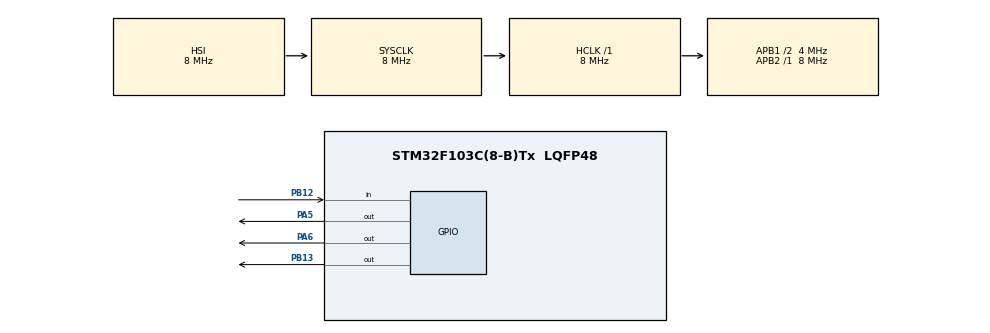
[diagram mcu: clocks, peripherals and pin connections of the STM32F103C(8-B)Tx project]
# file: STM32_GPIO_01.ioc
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Mcu.Family=STM32F1
Mcu.Name=STM32F103C(8-B)Tx
Mcu.Package=LQFP48
NVIC.PriorityGroup=NVIC_PRIORITYGROUP_4
PA13.Mode=Serial_Wire
PA13.Signal=SYS_JTMS-SWDIO
PA14.Mode=Serial_Wire
PA14.Signal=SYS_JTCK-SWCLK
PA5.PinState=GPIO_PIN_SET
PA5.Signal=GPIO_Output
PA6.PinState=GPIO_PIN_SET
PA6.Signal=GPIO_Output
PB12.GPIO_PuPd=GPIO_PULLUP
PB12.Signal=GPIO_Input
PB13.PinState=GPIO_PIN_SET
PB13.Signal=GPIO_Output
PC14-OSC32_IN.Mode=LSE-External-Oscillator
PC14-OSC32_IN.Signal=RCC_OSC32_IN
PC15-OSC32_OUT.Mode=LSE-External-Oscillator
PC15-OSC32_OUT.Signal=RCC_OSC32_OUT
PD0-OSC_IN.Mode=HSE-External-Oscillator
PD0-OSC_IN.Signal=RCC_OSC_IN
PD1-OSC_OUT.Mode=HSE-External-Oscillator
PD1-OSC_OUT.Signal=RCC_OSC_OUT
ProjectManager.HeapSize=0x200
ProjectManager.StackSize=0x400
ProjectManager.TargetToolchain=MDK-ARM V5.32
RCC.AHBFreq_Value=8000000
RCC.APB1CLKDivider=RCC_HCLK_DIV2
RCC.APB1Freq_Value=4000000
RCC.APB1TimFreq_Value=8000000
RCC.APB2Freq_Value=8000000
RCC.APB2TimFreq_Value=8000000
RCC.HCLKFreq_Value=8000000
RCC.PLLMUL=RCC_PLL_MUL9
RCC.PLLSourceVirtual=RCC_PLLSOURCE_HSE
RCC.SYSCLKFreq_VALUE=8000000
RCC.USBFreq_Value=72000000
board=custom

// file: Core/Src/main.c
/* USER CODE BEGIN Header */
/**
  ******************************************************************************
  * @file           : main.c
  * @brief          : Main program body
  ******************************************************************************
  * @attention
  *
  * Copyright (c) 2022 STMicroelectronics.
  * All rights reserved.
  *
  * This software is licensed under terms that can be found in the LICENSE file
  * in the root directory of this software component.
  * If no LICENSE file comes with this software, it is provided AS-IS.
  *
  ******************************************************************************
  */
/* USER CODE END Header */
#include "main.h"
#include "gpio.h"

/* USER CODE BEGIN Includes */
#define KEY1 HAL_GPIO_ReadPin(GPIOB,GPIO_PIN_12)
/* USER CODE END Includes */

void SystemClock_Config(void);
/* USER CODE BEGIN PFP */
void LEDs(void);
void Scan_Keys(void);
/* USER CODE END PFP */

int main(void)
{

  /* MCU Configuration--------------------------------------------------------*/

  /* Reset of all peripherals, Initializes the Flash interface and the Systick. */
  HAL_Init();

  /* Configure the system clock */
  SystemClock_Config();

  /* Initialize all configured peripherals */
  MX_GPIO_Init();

  /* Infinite loop */
  /* USER CODE BEGIN WHILE */
  while (1)
  {
		//LEDs();
		Scan_Keys();
    /* USER CODE END WHILE */

  }
}

void SystemClock_Config(void)
{
  RCC_OscInitTypeDef RCC_OscInitStruct = {0};
  RCC_ClkInitTypeDef RCC_ClkInitStruct = {0};

  /** Initializes the RCC Oscillators according to the specified parameters
  * in the RCC_OscInitTypeDef structure.
  */
  RCC_OscInitStruct.OscillatorType = RCC_OSCILLATORTYPE_HSI;
  RCC_OscInitStruct.HSIState = RCC_HSI_ON;
  RCC_OscInitStruct.HSICalibrationValue = RCC_HSICALIBRATION_DEFAULT;
  RCC_OscInitStruct.PLL.PLLState = RCC_PLL_NONE;
  if (HAL_RCC_OscConfig(&RCC_OscInitStruct) != HAL_OK)
  {
    Error_Handler();
  }

  /** Initializes the CPU, AHB and APB buses clocks
  */
  RCC_ClkInitStruct.ClockType = RCC_CLOCKTYPE_HCLK|RCC_CLOCKTYPE_SYSCLK
                              |RCC_CLOCKTYPE_PCLK1|RCC_CLOCKTYPE_PCLK2;
  RCC_ClkInitStruct.SYSCLKSource = RCC_SYSCLKSOURCE_HSI;
  RCC_ClkInitStruct.AHBCLKDivider = RCC_SYSCLK_DIV1;
  RCC_ClkInitStruct.APB1CLKDivider = RCC_HCLK_DIV2;
  RCC_ClkInitStruct.APB2CLKDivider = RCC_HCLK_DIV1;

  if (HAL_RCC_ClockConfig(&RCC_ClkInitStruct, FLASH_LATENCY_0) != HAL_OK)
  {
    Error_Handler();
  }
}

/* USER CODE BEGIN 4 */
void LEDs(void){
	HAL_GPIO_WritePin(GPIOA,GPIO_PIN_5,GPIO_PIN_RESET);
	HAL_Delay(500);

	HAL_GPIO_WritePin(GPIOA,GPIO_PIN_6,GPIO_PIN_RESET);
	HAL_Delay(500);

	HAL_GPIO_TogglePin(GPIOA, GPIO_PIN_5);
	HAL_Delay(500);

	HAL_GPIO_TogglePin(GPIOA, GPIO_PIN_6);
	HAL_Delay(500);
}
void Scan_Keys(void){
	if(KEY1 == GPIO_PIN_RESET){
		HAL_Delay(2);
		if(KEY1 == GPIO_PIN_RESET){
			HAL_GPIO_TogglePin(GPIOB, GPIO_PIN_13);
			while(KEY1 == GPIO_PIN_RESET);
		}
	}
}
/* USER CODE END 4 */

void Error_Handler(void)
{
  __disable_irq();
  while (1)
  {
  }
}
